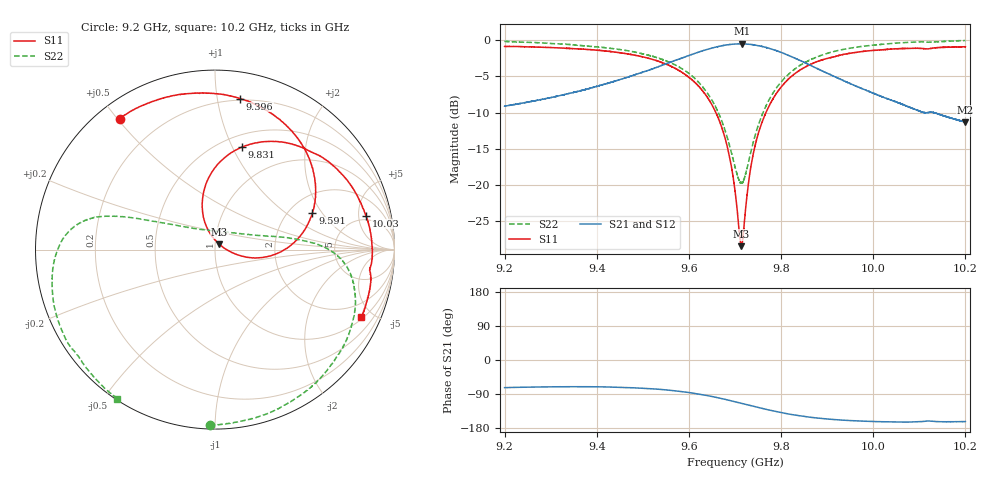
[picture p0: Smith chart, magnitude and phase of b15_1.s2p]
!Agilent Technologies,N5242A,MY51221714,A.09.90.19
!Agilent N5242A: A.09.90.19
!Date: Saturday, March 16, 2024 09:31:21
!Correction: S11(Full 2 Port(1,2))
!S21(Full 2 Port(1,2))
!S12(Full 2 Port(1,2))
!S22(Full 2 Port(1,2))
!S2P File: Measurements: S11, S21, S12, S22:
# Hz S  dB  R 50
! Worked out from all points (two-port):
!   16001 points, 9.2 GHz to 10.2 GHz, reference 50 ohm
!   highest |S21| = -0.52 dB at 9.715 GHz (marker M1); lowest = -11.3 dB at 10.2 GHz (marker M2)
!   |S21| within 3 dB of the highest: 9.54 GHz to 9.865 GHz (325 MHz wide, 3.35 % of centre)
!   lowest |S11| = -28.4 dB at 9.714 GHz (marker M3), VSWR 1.08, Z = 52.4 + j3.06 ohm
!   |S11| at or under -10 dB: 9.658 GHz to 9.767 GHz (108.9 MHz wide, 1.12 % of centre)
!   |S22| runs from -19.8 to -0.1 dB; largest |S21 - S12| = 0.013
!   S11 on the Smith chart (normalised r, x): 9.2 GHz: 0.06, +0.51; 9.396 GHz: 0.19, +1.16; 9.591 GHz: 2.66, +1.62; 9.831 GHz: 0.62, +1.08; 10.03 GHz: 4.22, +6.18; 10.2 GHz: 1.10, -4.29
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9.2e9  -0.89 126.0  -9.12 -72.9  -9.11 -73.5  -0.18 -91.7
9.277812e9  -1.00 108.7  -8.24 -71.2  -8.21 -71.7  -0.39 -70.1
9.366688e9  -1.25 87.9  -6.96 -70.6  -6.95 -71.1  -0.76 -46.4
9.396062e9  -1.38 80.5  -6.47 -70.6  -6.45 -71.3  -0.92 -38.8
9.533375e9  -2.91 41.1  -3.69 -77.2  -3.67 -77.7  -2.48 -8.4
9.5915e9  -4.75 20.5  -2.34 -84.5  -2.32 -85.1  -4.24 1.1
9.66175e9  -10.48 -7.2  -0.92 -99.4  -0.91 -99.9  -9.71 13.1
9.684e9  -14.91 -13.5  -0.66 -105.4  -0.64 -106.0  -13.60 23.5
9.7e9  -20.75 -8.8  -0.56 -110.1  -0.53 -110.7  -17.54 44.5
9.713875e9  -28.44 50.3  -0.53 -114.4  -0.51 -114.9  -19.78 85.0
9.715375e9  -28.11 60.9  -0.52 -114.8  -0.51 -115.4  -19.63 89.8
9.734188e9  -17.61 110.1  -0.61 -120.5  -0.59 -121.2  -15.52 135.2
9.753812e9  -12.24 106.9  -0.83 -126.3  -0.80 -127.0  -11.16 149.7
9.786688e9  -7.67 94.0  -1.39 -135.5  -1.39 -136.2  -6.90 157.7
9.830625e9  -4.60 75.4  -2.53 -145.4  -2.51 -146.0  -3.95 163.0
9.866688e9  -3.28 61.6  -3.59 -151.5  -3.57 -152.1  -2.64 167.1
9.9505e9  -1.81 34.3  -6.02 -159.9  -6.03 -160.4  -1.12 -179.6
1.003062e10  -1.29 12.7  -8.10 -163.1  -8.08 -163.7  -0.52 -163.3
1.003338e10  -1.28 12.0  -8.17 -163.1  -8.16 -163.7  -0.50 -162.7
1.01055e10  -1.16 -5.3  -9.92 -162.5  -9.92 -163.1  -0.25 -146.7
1.01995e10  -0.94 -24.6  -11.33 -162.4  -11.30 -163.1  -0.07 -123.4
1.02e10  -0.93 -24.7  -11.33 -162.5  -11.31 -163.1  -0.06 -123.3
